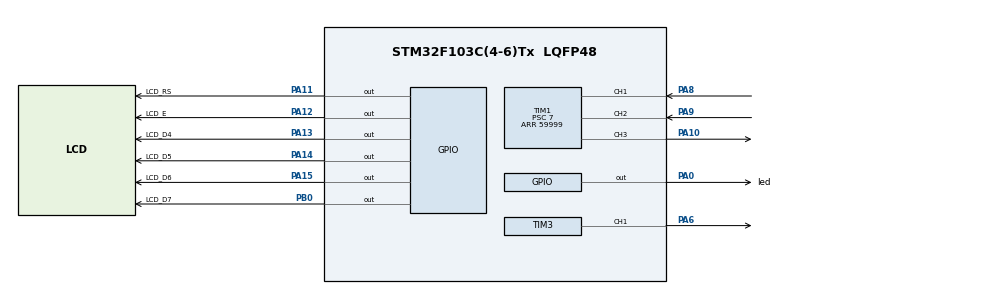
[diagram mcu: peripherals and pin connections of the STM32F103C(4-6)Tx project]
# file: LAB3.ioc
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Mcu.Family=STM32F1
Mcu.Name=STM32F103C(4-6)Tx
Mcu.Package=LQFP48
NVIC.PriorityGroup=NVIC_PRIORITYGROUP_4
NVIC.TIM1_CC_IRQn=true\:0\:0\:false\:false\:true\:true\:true
PA0-WKUP.GPIO_Label=led
PA0-WKUP.Signal=GPIO_Output
PA10.Signal=S_TIM1_CH3
PA11.GPIO_Label=LCD_RS
PA11.Signal=GPIO_Output
PA12.GPIO_Label=LCD_E
PA12.Signal=GPIO_Output
PA13.GPIO_Label=LCD_D4
PA13.Signal=GPIO_Output
PA14.GPIO_Label=LCD_D5
PA14.Signal=GPIO_Output
PA15.GPIO_Label=LCD_D6
PA15.Signal=GPIO_Output
PA6.Signal=S_TIM3_CH1
PA8.Signal=S_TIM1_CH1
PA9.Signal=S_TIM1_CH2
PB0.GPIO_Label=LCD_D7
PB0.Signal=GPIO_Output
PD0-OSC_IN.Mode=HSE-External-Oscillator
PD0-OSC_IN.Signal=RCC_OSC_IN
PD1-OSC_OUT.Mode=HSE-External-Oscillator
PD1-OSC_OUT.Signal=RCC_OSC_OUT
ProjectManager.HeapSize=0x200
ProjectManager.StackSize=0x400
ProjectManager.TargetToolchain=MDK-ARM V5.27
RCC.APB1Freq_Value=8000000
RCC.APB2Freq_Value=8000000
RCC.SYSCLKSource=RCC_SYSCLKSOURCE_PLLCLK
SH.S_TIM1_CH1.0=TIM1_CH1,Input_Capture1_from_TI1
SH.S_TIM1_CH2.0=TIM1_CH2,Input_Capture2_from_TI2
SH.S_TIM1_CH3.0=TIM1_CH3,PWM Generation3 CH3
SH.S_TIM3_CH1.0=TIM3_CH1,PWM Generation1 CH1
TIM1.Channel-Input_Capture1_from_TI1=TIM_CHANNEL_1
TIM1.Channel-Input_Capture2_from_TI2=TIM_CHANNEL_2
TIM1.Channel-PWM\ Generation3\ CH3=TIM_CHANNEL_3
TIM1.ICPolarity_CH2=TIM_INPUTCHANNELPOLARITY_FALLING
TIM1.OCPolarity_3=TIM_OCPOLARITY_LOW
TIM1.Period=59999
TIM1.Prescaler=7
TIM1.Pulse-PWM\ Generation3\ CH3=10
TIM3.Channel-PWM\ Generation1\ CH1=TIM_CHANNEL_1
TIM3.OCPolarity_1=TIM_OCPOLARITY_LOW
TIM3.Period=19999
TIM3.Prescaler=7
TIM3.Pulse-PWM\ Generation1\ CH1=999
VP_SYS_VS_ND.Mode=No_Debug
VP_TIM1_VS_ClockSourceINT.Mode=Internal
VP_TIM3_VS_ClockSourceINT.Mode=Internal
board=custom

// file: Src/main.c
/* USER CODE BEGIN Header */
/**
  ******************************************************************************
  * @file           : main.c
  * @brief          : Main program body
  ******************************************************************************
  * @attention
  *
  * <h2><center>&copy; Copyright (c) 2020 STMicroelectronics.
  * All rights reserved.</center></h2>
  *
  * This software component is licensed by ST under BSD 3-Clause license,
  * the "License"; You may not use this file except in compliance with the
  * License. You may obtain a copy of the License at:
  *                        opensource.org/licenses/BSD-3-Clause
  *
  ******************************************************************************
  */
/* USER CODE END Header */

#include "main.h"
#include "tim.h"
#include "gpio.h"

/* USER CODE BEGIN Includes */
#include "lm016.h"
/* USER CODE END Includes */

/* USER CODE BEGIN PTD */
#include <stdio.h>
#include "lm016.h"
#include <math.h>
int rising_value;
int falling_value;
int flag_distance = 0;
int echo_duration;
int distance_um;
int distance_cm;
char str[3];
/* USER CODE END PTD */

void SystemClock_Config(void);

int main(void)
{

  /* MCU Configuration--------------------------------------------------------*/

  /* Reset of all peripherals, Initializes the Flash interface and the Systick. */
  HAL_Init();

  /* Configure the system clock */
  SystemClock_Config();

  /* Initialize all configured peripherals */
  MX_GPIO_Init();
  MX_TIM1_Init();
  MX_TIM3_Init();
  /* USER CODE BEGIN 2 */

	LCD_Init();
	LCD_Clear();
	HAL_TIM_IC_Start_IT(&htim1,TIM_CHANNEL_1);
	HAL_TIM_IC_Start_IT(&htim1,TIM_CHANNEL_2);
	HAL_TIM_PWM_Start(&htim1,TIM_CHANNEL_3);
	HAL_TIM_PWM_Start(&htim3,TIM_CHANNEL_1);
	LCD_PutString("dist=  ");
  /* USER CODE END 2 */

  /* Infinite loop */
  /* USER CODE BEGIN WHILE */
  while (1)
  {
		LCD_SetCursor(1,6);
		sprintf(str,"%3d cm",distance_cm);
		LCD_PutString(str);
		HAL_Delay(150);
    /* USER CODE END WHILE */

  }
}

void SystemClock_Config(void)
{
  RCC_OscInitTypeDef RCC_OscInitStruct = {0};
  RCC_ClkInitTypeDef RCC_ClkInitStruct = {0};

  /** Initializes the CPU, AHB and APB busses clocks
  */
  RCC_OscInitStruct.OscillatorType = RCC_OSCILLATORTYPE_HSI;
  RCC_OscInitStruct.HSIState = RCC_HSI_ON;
  RCC_OscInitStruct.HSICalibrationValue = RCC_HSICALIBRATION_DEFAULT;
  RCC_OscInitStruct.PLL.PLLState = RCC_PLL_ON;
  RCC_OscInitStruct.PLL.PLLSource = RCC_PLLSOURCE_HSI_DIV2;
  RCC_OscInitStruct.PLL.PLLMUL = RCC_PLL_MUL2;
  if (HAL_RCC_OscConfig(&RCC_OscInitStruct) != HAL_OK)
  {
    Error_Handler();
  }
  /** Initializes the CPU, AHB and APB busses clocks
  */
  RCC_ClkInitStruct.ClockType = RCC_CLOCKTYPE_HCLK|RCC_CLOCKTYPE_SYSCLK
                              |RCC_CLOCKTYPE_PCLK1|RCC_CLOCKTYPE_PCLK2;
  RCC_ClkInitStruct.SYSCLKSource = RCC_SYSCLKSOURCE_PLLCLK;
  RCC_ClkInitStruct.AHBCLKDivider = RCC_SYSCLK_DIV1;
  RCC_ClkInitStruct.APB1CLKDivider = RCC_HCLK_DIV1;
  RCC_ClkInitStruct.APB2CLKDivider = RCC_HCLK_DIV1;

  if (HAL_RCC_ClockConfig(&RCC_ClkInitStruct, FLASH_LATENCY_0) != HAL_OK)
  {
    Error_Handler();
  }
}

/* USER CODE BEGIN 4 */
void HAL_TIM_IC_CaptureCallback(TIM_HandleTypeDef *htim)
{
	if(htim==&htim1 &&  htim->Channel == HAL_TIM_ACTIVE_CHANNEL_1) //rising edge detected.
	{
		rising_value = HAL_TIM_ReadCapturedValue(htim,TIM_CHANNEL_1);
	}
	if(htim==&htim1 &&  htim->Channel == HAL_TIM_ACTIVE_CHANNEL_2) //falling edge detected.
	{
		falling_value = HAL_TIM_ReadCapturedValue(htim,TIM_CHANNEL_2);
		flag_distance = 1; //now that we have seen both rising and falling edges, we can calculate distance.
	}
	if(flag_distance == 1)
	{
		flag_distance = 0;
		if(falling_value > rising_value )
		{
			echo_duration = falling_value - rising_value;
			HAL_GPIO_TogglePin(led_GPIO_Port,led_Pin);
		}
		else //overflow in counter register has occurred
		{
			echo_duration = __HAL_TIM_GET_AUTORELOAD(&htim1) - rising_value + falling_value + 1;

		}

		distance_um = echo_duration * 170;  // distance_cm * 2 = time * speed
		distance_cm = distance_um / 10000 + 1; //convert to centimeter
		if(distance_cm >= 3 && distance_cm <= 30)
		{
			float teta = acos((float) distance_cm / 30.0) * 180.0 / 3.1415;
			float duration_ms = teta/180.0 + 1.0; //linear equation between teta motor and duration of pulse.
			int compare = (int) round(duration_ms *1000.0); //because timer are set to 1us, we multipy to 1000 to convert ms to us.
			__HAL_TIM_SET_COMPARE(&htim3,TIM_CHANNEL_1,compare);

		}
		else
		{
			__HAL_TIM_SET_COMPARE(&htim3,TIM_CHANNEL_1,999);
		}
	}

}
/* USER CODE END 4 */

void Error_Handler(void)
{
}

/************************ (C) COPYRIGHT STMicroelectronics *****END OF FILE****/
